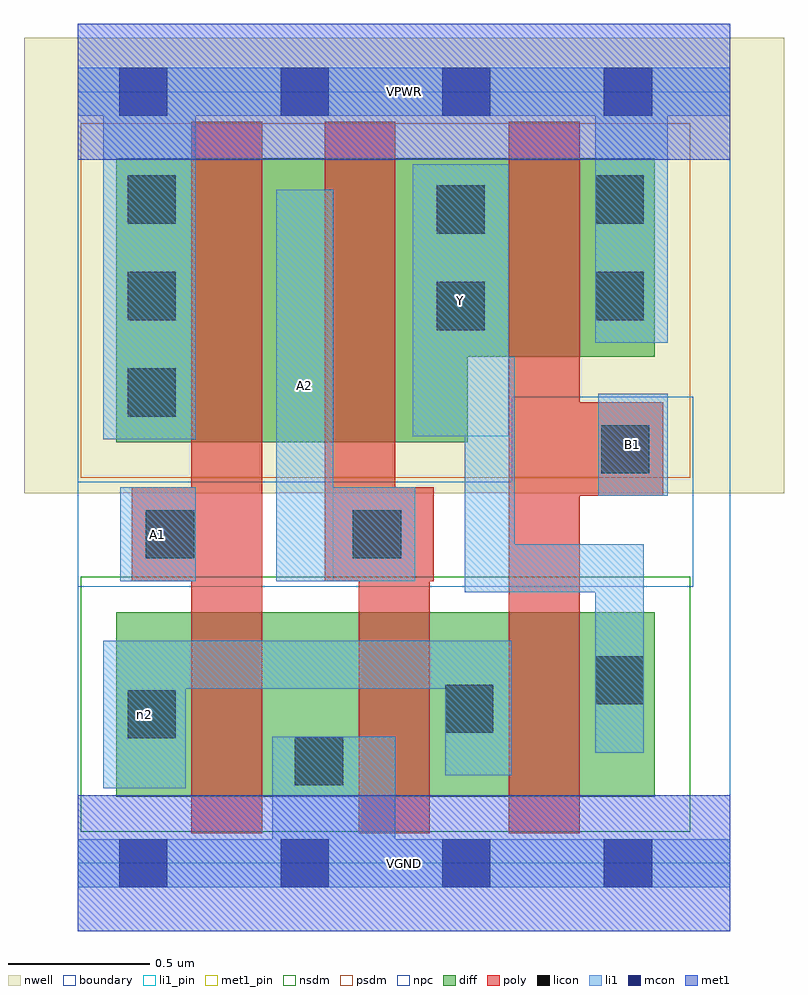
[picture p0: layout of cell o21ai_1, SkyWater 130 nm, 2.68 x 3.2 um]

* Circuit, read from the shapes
.subckt o21ai_1 A1 A2 B1 VGND VPWR Y n2
XM1 VGND A1 n2 VSUBS sky130_fd_pr__nfet_01v8 w=0.65 l=0.25
XM2 n2 A2 VGND VSUBS sky130_fd_pr__nfet_01v8 w=0.65 l=0.25
XM3 Y B1 n2 VSUBS sky130_fd_pr__nfet_01v8 w=0.65 l=0.25
XM4 n1 A1 VPWR n3 sky130_fd_pr__pfet_01v8 w=1 l=0.25
XM5 Y A2 n1 n3 sky130_fd_pr__pfet_01v8 w=1 l=0.25
XM6 VPWR B1 Y n3 sky130_fd_pr__pfet_01v8 w=0.7 l=0.25
.ends

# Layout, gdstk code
import gdstk
lib = gdstk.Library(unit=1e-6, precision=1e-09)
def R(c, l, rs):  # rectangles x0, y0, x1, y1
    for r in rs: c.add(gdstk.rectangle(r[:2], r[2:], *l))
def A(c, l, x, y, w, h, nx, ny, dx, dy):  # array of equal rectangles
    R(c, l, [(x+i*dx, y+j*dy, x+i*dx+w, y+j*dy+h) for i in range(nx) for j in range(ny)])
nwell = (64, 20)
diff = (65, 20)
poly = (66, 20)
licon = (66, 44)
li1_pin = (67, 16)
li1 = (67, 20)
mcon = (67, 44)
met1_pin = (68, 16)
met1 = (68, 20)
nsdm = (93, 44)
psdm = (94, 20)
npc = (95, 20)
boundary = (235, 4)

o21ai_1 = lib.new_cell('o21ai_1')
R(o21ai_1, nwell, [(-0.19,1.305,2.49,2.91), (0,1.305,2.3,2.91)])
R(o21ai_1, diff, [(0.135,0.235,2.035,0.885), (0.135,1.485,1.375,2.485), (0.135,1.785,2.035,2.485)])
R(o21ai_1, poly, [(0.4,0.105,0.65,2.615), (0.99,0.105,1.24,1.325), (1.52,0.105,1.77,2.615), (0.19,0.995,0.65,1.325), (0.87,0.995,1.12,2.615), (0.87,0.995,1.255,1.325), (1.52,1.295,2.065,1.625)])
A(o21ai_1, licon, 0.175, 1.575, 0.17, 0.17, 1, 3, 0, 0.34)
R(o21ai_1, licon, [(0.765,0.275,0.935,0.445), (0.175,0.44,0.345,0.61), (1.295,0.46,1.465,0.63), (1.825,0.56,1.995,0.73), (0.24,1.075,0.41,1.245), (0.97,1.075,1.14,1.245), (1.845,1.375,2.015,1.545), (1.265,1.88,1.435,2.05), (1.825,1.915,1.995,2.085), (1.265,2.22,1.435,2.39), (1.825,2.255,1.995,2.425)])
R(o21ai_1, li1_pin, [(0.15,0.995,0.415,1.325), (0.7,0.995,0.9,2.375), (1.835,1.295,2.08,1.655), (1.18,1.505,1.52,2.465)])
R(o21ai_1, li1, [(0,-0.085,2.3,0.085), (0.685,-0.085,1.12,0.445), (0.09,0.265,0.38,0.785), (1.295,0.31,1.53,0.785), (1.825,0.39,1.995,1.125), (0.09,0.615,1.53,0.785), (1.365,0.955,1.54,1.785), (1.365,0.955,1.995,1.125), (0.15,0.995,0.415,1.325), (0.7,0.995,0.9,2.375), (0.7,0.995,1.19,1.325), (1.835,1.295,2.08,1.655), (0.09,1.495,0.415,2.805), (1.18,1.505,1.52,2.465), (1.825,1.835,2.08,2.805), (0,2.635,2.3,2.805)])
A(o21ai_1, mcon, 0.145, -0.085, 0.17, 0.17, 4, 2, 0.57, 2.72)
R(o21ai_1, met1_pin, [(0,-0.24,2.3,0.24), (0,2.48,2.3,2.96)])
R(o21ai_1, met1, [(0,-0.24,2.3,0.24), (0,2.48,2.3,2.96)])
R(o21ai_1, nsdm, [(0.01,0.11,2.16,1.01)])
R(o21ai_1, psdm, [(0.01,1.36,2.16,2.61)])
R(o21ai_1, npc, [(0,0.975,2.17,1.345), (1.53,0.975,2.17,1.645)])
R(o21ai_1, boundary, [(0,0,2.3,2.72)])
o21ai_1.add(gdstk.Label('A1', (0.282,1.16), layer=67, texttype=5))
o21ai_1.add(gdstk.Label('A2', (0.8,1.685), layer=67, texttype=5))
o21ai_1.add(gdstk.Label('B1', (1.957,1.475), layer=67, texttype=5))
o21ai_1.add(gdstk.Label('Y', (1.35,1.985), layer=67, texttype=5))
o21ai_1.add(gdstk.Label('n2', (0.235,0.525), layer=67, texttype=5))
o21ai_1.add(gdstk.Label('VPWR', (1.15,2.72), layer=68, texttype=5))
o21ai_1.add(gdstk.Label('VGND', (1.15,0), layer=68, texttype=5))
o21ai_1.add(gdstk.Label('A1', (0.282,1.16), layer=67, texttype=16))
o21ai_1.add(gdstk.Label('A2', (0.8,1.685), layer=67, texttype=16))
o21ai_1.add(gdstk.Label('B1', (1.957,1.475), layer=67, texttype=16))
o21ai_1.add(gdstk.Label('Y', (1.35,1.985), layer=67, texttype=16))
o21ai_1.add(gdstk.Label('VPWR', (1.15,2.72), layer=68, texttype=16))
o21ai_1.add(gdstk.Label('VGND', (1.15,0), layer=68, texttype=16))

lib.write_gds('o21ai_1.gds')
